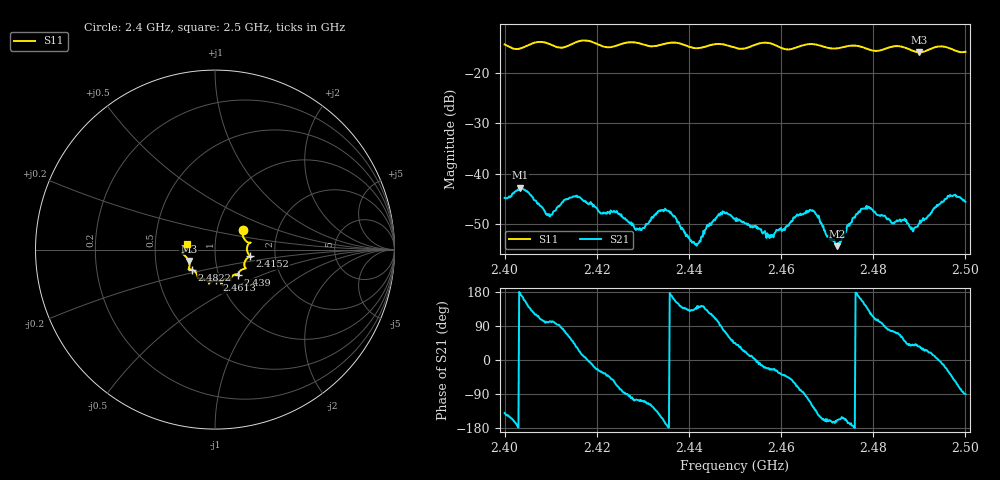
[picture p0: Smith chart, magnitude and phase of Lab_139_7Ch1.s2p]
# Hz S RI R 50
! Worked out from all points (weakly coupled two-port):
!   601 points, 2.4 GHz to 2.5 GHz, reference 50 ohm
!   highest |S21| = -42.78 dB at 2.4033 GHz (marker M1); lowest = -54.4 dB at 2.4722 GHz (marker M2)
!   lowest |S11| = -15.9 dB at 2.49 GHz (marker M3), VSWR 1.38, Z = 36.9 - j4.81 ohm
!   |S11| at or under -10 dB: start of sweep to end of sweep
!   S12 and S22 are empty: the file has one direction only
!   S11 on the Smith chart (normalised r, x): 2.4 GHz: 1.33, +0.31; 2.4152 GHz: 1.48, -0.11; 2.439 GHz: 1.24, -0.36; 2.4613 GHz: 0.96, -0.34; 2.4822 GHz: 0.76, -0.17; 2.5 GHz: 0.73, +0.05
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2.4e9  0.1554 0.1111  -0.00441 -0.00372  0 0  0 0
2.403333e9  0.1644 0.0574  -0.00724 0.00045  0 0  0 0
2.4095e9  0.1916 0.0361  -0.000632 0.0038  0 0  0 0
2.415167e9  0.1948 -0.0366  0.00435 0.00406  0 0  0 0
2.416667e9  0.2041 -0.0422  0.00545 0.00154  0 0  0 0
2.428667e9  0.169 -0.1049  -0.000727 -0.00277  0 0  0 0
2.433333e9  0.1322 -0.1321  -0.00329 -0.00269  0 0  0 0
2.435833e9  0.134 -0.1465  -0.00411 0.000234  0 0  0 0
2.439e9  0.1283 -0.1388  -0.00194 0.00175  0 0  0 0
2.441667e9  0.1019 -0.1431  -0.00137 0.00137  0 0  0 0
2.446833e9  0.0857 -0.1731  -0.000107 0.00407  0 0  0 0
2.45e9  0.0691 -0.1635  0.00254 0.00257  0 0  0 0
2.457333e9  0.0398 -0.1936  0.00228 -0.000909  0 0  0 0
2.461333e9  0.00758 -0.1707  0.00219 -0.00215  0 0  0 0
2.466667e9  -0.0333 -0.1902  -0.00213 -0.00374  0 0  0 0
2.472167e9  -0.0677 -0.1613  -0.00178 -0.000698  0 0  0 0
2.477333e9  -0.0959 -0.1546  -0.00423 0.00145  0 0  0 0
2.482167e9  -0.1282 -0.1119  -0.000225 0.00381  0 0  0 0
2.483333e9  -0.1397 -0.1104  0.000607 0.00352  0 0  0 0
2.49e9  -0.1467 -0.0634  0.0026 0.00187  0 0  0 0
2.4965e9  -0.1754 -0.0153  0.00491 -0.00331  0 0  0 0
2.5e9  -0.1583 0.0335  -2.93e-06 -0.00528  0 0  0 0
